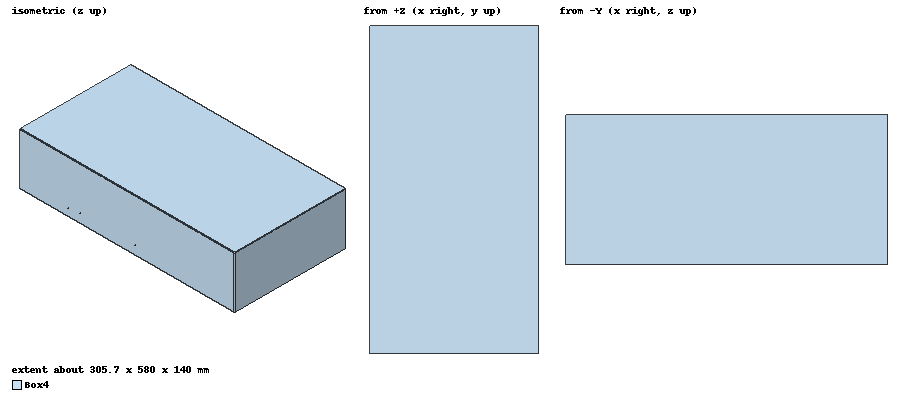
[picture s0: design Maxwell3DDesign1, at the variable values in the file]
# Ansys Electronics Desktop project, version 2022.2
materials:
  vacuum: permittivity=1
  copper litz: permeability=0.999991 conductivity=58000000 stacking_type="Litz Wire" wire_type=Round strand_number=1 wire_diameter=2mm
  air: permittivity=1.0006 permeability=1.0000004

design Maxwell3DDesign1 (Maxwell 3D, EddyCurrent, model units mm)
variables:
  airgap = 100mm
  misal = 0mm
  i = 5A
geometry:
  Dcoil_Tx [copper litz] = polyline(z=0mm, xy in mm: (140, 60) (140, 0) (0, 0) (0, 140) (136, 140) (136, 4) (4, 4) (4, 136) (132, 136) (132, 8) (8, 8) (8, 132) (128, 132) (128, 12) (12, 12) (12, 128) (124, 128) (124, 16) (16, 16) (16, 124) (120, 124) (120, 20) (20, 20) (20, 120) (116, 120) (116, 24) (24, 24) (24, 116) (112, 116) (112, 28) (28, 28) (28, 112) (108, 112) (108, 32) (32, 32) (32, 108) (104, 108) (104, 36) (36, 36) (36, 104), section circle width=2mm)
  Polyline2 = polyline(y=104mm, xz in mm: (36, 0) (36, 4) (1000, 4), section circle width=2mm)
  Polyline3 = polyline(z=0mm, xy in mm: (140, 60) (140, 70) (1000, 70), section circle width=2mm)
  Dcoil_Tx.unite(Polyline2, Polyline3)
  Box2 = box(corner=(300mm, -50mm, 50mm), size=(800mm, 200mm, -200mm))
  Dcoil_Tx.subtract(Box2)
  Dcoil1 [copper litz] = polyline(z=0mm, xy in mm: (140, 60) (140, 0) (0, 0) (0, 140) (136, 140) (136, 4) (4, 4) (4, 136) (132, 136) (132, 8) (8, 8) (8, 132) (128, 132) (128, 12) (12, 12) (12, 128) (124, 128) (124, 16) (16, 16) (16, 124) (120, 124) (120, 20) (20, 20) (20, 120) (116, 120) (116, 24) (24, 24) (24, 116) (112, 116) (112, 28) (28, 28) (28, 112) (108, 112) (108, 32) (32, 32) (32, 108) (104, 108) (104, 36) (36, 36) (36, 104), section circle width=2mm)
  Polyline4 = polyline(y=104mm, xz in mm: (36, 0) (36, 4) (1000, 4), section circle width=2mm)
  Polyline5 = polyline(z=0mm, xy in mm: (140, 60) (140, 70) (1000, 70), section circle width=2mm)
  Dcoil1.unite(Polyline4, Polyline5)
  Box3 = box(corner=(300mm, -50mm, 50mm), size=(800mm, 200mm, -200mm))
  Dcoil1.subtract(Box3)
  Dcoil1.move(0mm, 148mm, 0mm)
  Box4 [air] = box(corner=(-10mm, -60mm, 120mm), size=(300mm, 580mm, -140mm))
  Box5 = box(corner=(290mm, -60mm, 40mm), size=(230mm, 380mm, -140mm))
  Dcoil_Tx.subtract(Box5)
  Box6 = box(corner=(290mm, -60mm, 120mm), size=(260mm, 580mm, -140mm))
  Dcoil1.subtract(Box6)
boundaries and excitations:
  txin1: Current Faces=Dcoil_Tx.face(at (290, 70, 0)) Phase=0deg Current=i IsSolid=false Point_out_of_terminal=false
  txout1: Current Faces=Dcoil_Tx.face(at (290, 104, 4)) Phase=0deg Current=i IsSolid=false Point_out_of_terminal=true
  Current1: Current Faces=Dcoil1.face(at (290, 218, 0)) Phase=0deg Current=i IsSolid=false Point_out_of_terminal=false
  Current2: Current Faces=Dcoil1.face(at (290, 252, 4)) Phase=0deg Current=i IsSolid=false Point_out_of_terminal=true
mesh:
  initial mesh: GlobalCurvilinear{Apply}
